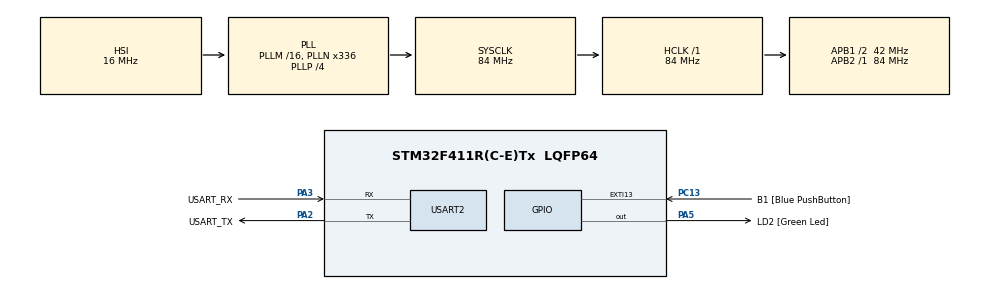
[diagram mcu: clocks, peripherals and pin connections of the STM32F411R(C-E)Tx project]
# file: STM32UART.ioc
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Mcu.Family=STM32F4
Mcu.Name=STM32F411R(C-E)Tx
Mcu.Package=LQFP64
NVIC.EXTI15_10_IRQn=true\:0\:0\:false\:false\:true\:true\:true\:true
NVIC.PriorityGroup=NVIC_PRIORITYGROUP_0
PA13.GPIO_Label=TMS
PA13.Mode=Serial_Wire
PA13.Signal=SYS_JTMS-SWDIO
PA14.GPIO_Label=TCK
PA14.Mode=Serial_Wire
PA14.Signal=SYS_JTCK-SWCLK
PA2.GPIO_Label=USART_TX
PA2.Mode=Asynchronous
PA2.Signal=USART2_TX
PA3.GPIO_Label=USART_RX
PA3.Mode=Asynchronous
PA3.Signal=USART2_RX
PA5.GPIO_Label=LD2 [Green Led]
PA5.Signal=GPIO_Output
PB3.GPIO_Label=SWO
PB3.Signal=SYS_JTDO-SWO
PC13-ANTI_TAMP.GPIO_Label=B1 [Blue PushButton]
PC13-ANTI_TAMP.GPIO_ModeDefaultEXTI=GPIO_MODE_IT_FALLING
PC13-ANTI_TAMP.Signal=GPXTI13
PC14-OSC32_IN.Mode=LSE-External-Oscillator
PC14-OSC32_IN.Signal=RCC_OSC32_IN
PC15-OSC32_OUT.Mode=LSE-External-Oscillator
PC15-OSC32_OUT.Signal=RCC_OSC32_OUT
PH0\ -\ OSC_IN.Mode=HSE-External-Clock-Source
PH0\ -\ OSC_IN.Signal=RCC_OSC_IN
PH1\ -\ OSC_OUT.Mode=HSE-External-Clock-Source
PH1\ -\ OSC_OUT.Signal=RCC_OSC_OUT
ProjectManager.HeapSize=0x200
ProjectManager.StackSize=0x400
ProjectManager.TargetToolchain=STM32CubeIDE
RCC.48MHZClocksFreq_Value=84000000
RCC.AHBFreq_Value=84000000
RCC.APB1CLKDivider=RCC_HCLK_DIV2
RCC.APB1Freq_Value=42000000
RCC.APB1TimFreq_Value=84000000
RCC.APB2Freq_Value=84000000
RCC.APB2TimFreq_Value=84000000
RCC.CortexFreq_Value=84000000
RCC.FLatency-AdvancedSettings=FLASH_LATENCY_2
RCC.HCLKFreq_Value=84000000
RCC.HSE_VALUE=8000000
RCC.HSI_VALUE=16000000
RCC.PLLN=336
RCC.PLLP=RCC_PLLP_DIV4
RCC.SYSCLKFreq_VALUE=84000000
RCC.SYSCLKSource=RCC_SYSCLKSOURCE_PLLCLK
RCC.VCOOutputFreq_Value=336000000
USART2.VirtualMode=VM_ASYNC
board=NUCLEO-F411RE

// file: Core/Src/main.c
/* USER CODE BEGIN Header */
/**
  ******************************************************************************
  * @file           : main.c
  * @brief          : Main program body
  ******************************************************************************
  * @attention
  *
  * Copyright (c) 2026 STMicroelectronics.
  * All rights reserved.
  *
  * This software is licensed under terms that can be found in the LICENSE file
  * in the root directory of this software component.
  * If no LICENSE file comes with this software, it is provided AS-IS.
  *
  ******************************************************************************
  */
/* USER CODE END Header */
#include "main.h"

/* USER CODE BEGIN PD */
#define UART_CMD_START       'S'
#define UART_RSP_OK          'O'
#define UART_RSP_NG          'N'
#define BTN_DEBOUNCE_MS      200U
#define UART_RX_TIMEOUT_MS   1000U
/* USER CODE END PD */

UART_HandleTypeDef huart2;

/* USER CODE BEGIN PV */
static volatile uint8_t button_pending = 0;
static uint32_t last_button_tick = 0;
/* USER CODE END PV */

void SystemClock_Config(void);
static void MX_GPIO_Init(void);
static void MX_USART2_UART_Init(void);
/* USER CODE BEGIN PFP */
static void HandleButtonPress(void);
/* USER CODE END PFP */

/* USER CODE BEGIN 0 */
static void HandleLedBlink(uint8_t count)
{
  for (uint8_t i = 0; i < count; i++)
  {
    HAL_GPIO_TogglePin(LD2_GPIO_Port, LD2_Pin);
    HAL_Delay(100);
    HAL_GPIO_TogglePin(LD2_GPIO_Port, LD2_Pin);
    HAL_Delay(100);
  }
}

static void HandleButtonPress(void)
{
  uint8_t tx_byte = UART_CMD_START;
  uint8_t rx_byte = 0;

  HAL_UART_Transmit(&huart2, &tx_byte, 1, HAL_MAX_DELAY);

  if (HAL_UART_Receive(&huart2, &rx_byte, 1, UART_RX_TIMEOUT_MS) == HAL_OK)
  {
    if (rx_byte == UART_RSP_OK)
    {
      HAL_GPIO_WritePin(LD2_GPIO_Port, LD2_Pin, GPIO_PIN_SET);
    }
    else if (rx_byte == UART_RSP_NG)
    {
      HAL_GPIO_WritePin(LD2_GPIO_Port, LD2_Pin, GPIO_PIN_RESET);
    }
    else
    {
      HandleLedBlink(2);
    }
  }
  else
  {
    HandleLedBlink(3);
  }
}

void HAL_GPIO_EXTI_Callback(uint16_t GPIO_Pin)
{
  if (GPIO_Pin == B1_Pin)
  {
    uint32_t now = HAL_GetTick();

    if ((now - last_button_tick) >= BTN_DEBOUNCE_MS)
    {
      last_button_tick = now;
      button_pending = 1;
    }
  }
}
/* USER CODE END 0 */

int main(void)
{

  /* MCU Configuration--------------------------------------------------------*/

  /* Reset of all peripherals, Initializes the Flash interface and the Systick. */
  HAL_Init();

  /* Configure the system clock */
  SystemClock_Config();

  /* Initialize all configured peripherals */
  MX_GPIO_Init();
  MX_USART2_UART_Init();

  /* Infinite loop */
  while (1)
  {

    /* USER CODE BEGIN 3 */
    if (button_pending)
    {
      button_pending = 0;
      while (HAL_GPIO_ReadPin(B1_GPIO_Port, B1_Pin) == GPIO_PIN_RESET)
      {
      }
      HandleButtonPress();
    }
  }
  /* USER CODE END 3 */
}

void SystemClock_Config(void)
{
  RCC_OscInitTypeDef RCC_OscInitStruct = {0};
  RCC_ClkInitTypeDef RCC_ClkInitStruct = {0};

  /** Configure the main internal regulator output voltage
  */
  __HAL_RCC_PWR_CLK_ENABLE();
  __HAL_PWR_VOLTAGESCALING_CONFIG(PWR_REGULATOR_VOLTAGE_SCALE1);

  /** Initializes the RCC Oscillators according to the specified parameters
  * in the RCC_OscInitTypeDef structure.
  */
  RCC_OscInitStruct.OscillatorType = RCC_OSCILLATORTYPE_HSI;
  RCC_OscInitStruct.HSIState = RCC_HSI_ON;
  RCC_OscInitStruct.HSICalibrationValue = RCC_HSICALIBRATION_DEFAULT;
  RCC_OscInitStruct.PLL.PLLState = RCC_PLL_ON;
  RCC_OscInitStruct.PLL.PLLSource = RCC_PLLSOURCE_HSI;
  RCC_OscInitStruct.PLL.PLLM = 16;
  RCC_OscInitStruct.PLL.PLLN = 336;
  RCC_OscInitStruct.PLL.PLLP = RCC_PLLP_DIV4;
  RCC_OscInitStruct.PLL.PLLQ = 4;
  if (HAL_RCC_OscConfig(&RCC_OscInitStruct) != HAL_OK)
  {
    Error_Handler();
  }

  /** Initializes the CPU, AHB and APB buses clocks
  */
  RCC_ClkInitStruct.ClockType = RCC_CLOCKTYPE_HCLK|RCC_CLOCKTYPE_SYSCLK
                              |RCC_CLOCKTYPE_PCLK1|RCC_CLOCKTYPE_PCLK2;
  RCC_ClkInitStruct.SYSCLKSource = RCC_SYSCLKSOURCE_PLLCLK;
  RCC_ClkInitStruct.AHBCLKDivider = RCC_SYSCLK_DIV1;
  RCC_ClkInitStruct.APB1CLKDivider = RCC_HCLK_DIV2;
  RCC_ClkInitStruct.APB2CLKDivider = RCC_HCLK_DIV1;

  if (HAL_RCC_ClockConfig(&RCC_ClkInitStruct, FLASH_LATENCY_2) != HAL_OK)
  {
    Error_Handler();
  }
}

static void MX_USART2_UART_Init(void)
{

  huart2.Instance = USART2;
  huart2.Init.BaudRate = 115200;
  huart2.Init.WordLength = UART_WORDLENGTH_8B;
  huart2.Init.StopBits = UART_STOPBITS_1;
  huart2.Init.Parity = UART_PARITY_NONE;
  huart2.Init.Mode = UART_MODE_TX_RX;
  huart2.Init.HwFlowCtl = UART_HWCONTROL_NONE;
  huart2.Init.OverSampling = UART_OVERSAMPLING_16;
  if (HAL_UART_Init(&huart2) != HAL_OK)
  {
    Error_Handler();
  }

}

static void MX_GPIO_Init(void)
{
  GPIO_InitTypeDef GPIO_InitStruct = {0};

  /* GPIO Ports Clock Enable */
  __HAL_RCC_GPIOC_CLK_ENABLE();
  __HAL_RCC_GPIOH_CLK_ENABLE();
  __HAL_RCC_GPIOA_CLK_ENABLE();
  __HAL_RCC_GPIOB_CLK_ENABLE();

  /*Configure GPIO pin Output Level */
  HAL_GPIO_WritePin(LD2_GPIO_Port, LD2_Pin, GPIO_PIN_RESET);

  /*Configure GPIO pin : B1_Pin */
  GPIO_InitStruct.Pin = B1_Pin;
  GPIO_InitStruct.Mode = GPIO_MODE_IT_FALLING;
  GPIO_InitStruct.Pull = GPIO_NOPULL;
  HAL_GPIO_Init(B1_GPIO_Port, &GPIO_InitStruct);

  /*Configure GPIO pin : LD2_Pin */
  GPIO_InitStruct.Pin = LD2_Pin;
  GPIO_InitStruct.Mode = GPIO_MODE_OUTPUT_PP;
  GPIO_InitStruct.Pull = GPIO_NOPULL;
  GPIO_InitStruct.Speed = GPIO_SPEED_FREQ_LOW;
  HAL_GPIO_Init(LD2_GPIO_Port, &GPIO_InitStruct);

  /* EXTI interrupt init*/
  HAL_NVIC_SetPriority(EXTI15_10_IRQn, 0, 0);
  HAL_NVIC_EnableIRQ(EXTI15_10_IRQn);

}

void Error_Handler(void)
{
  __disable_irq();
  while (1)
  {
  }
}
